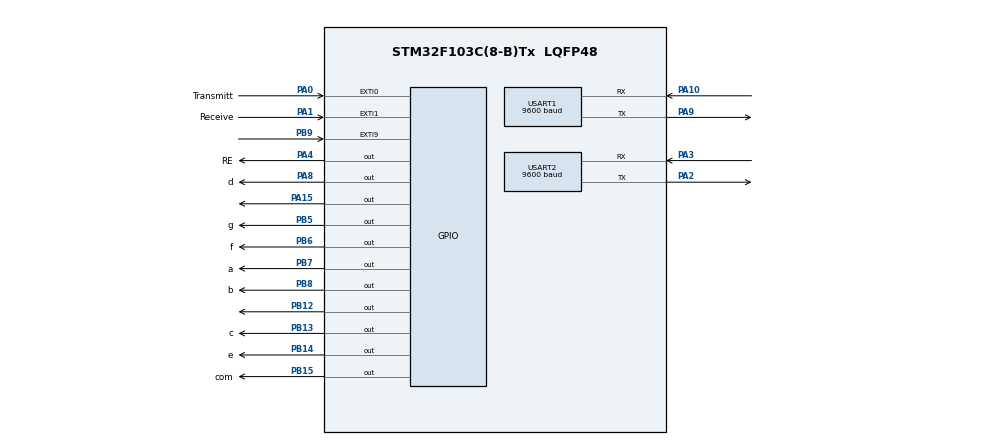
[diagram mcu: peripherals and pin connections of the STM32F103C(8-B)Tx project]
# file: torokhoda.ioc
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Mcu.Family=STM32F1
Mcu.Name=STM32F103C(8-B)Tx
Mcu.Package=LQFP48
NVIC.EXTI0_IRQn=true\:0\:0\:false\:false\:true\:true\:true\:true
NVIC.EXTI1_IRQn=true\:0\:0\:false\:false\:true\:true\:true\:true
NVIC.EXTI9_5_IRQn=true\:0\:0\:false\:false\:true\:true\:true\:true
NVIC.PriorityGroup=NVIC_PRIORITYGROUP_4
NVIC.USART1_IRQn=true\:0\:0\:false\:false\:true\:true\:true\:true
NVIC.USART2_IRQn=true\:0\:0\:false\:false\:true\:true\:true\:true
PA0-WKUP.GPIO_Label=Transmitt
PA0-WKUP.GPIO_ModeDefaultEXTI=GPIO_MODE_IT_FALLING
PA0-WKUP.GPIO_PuPd=GPIO_PULLUP
PA0-WKUP.Signal=GPXTI0
PA1.GPIO_Label=Receive
PA1.GPIO_ModeDefaultEXTI=GPIO_MODE_IT_FALLING
PA1.GPIO_PuPd=GPIO_PULLUP
PA1.Signal=GPXTI1
PA10.Mode=Asynchronous
PA10.Signal=USART1_RX
PA13.Mode=Serial_Wire
PA13.Signal=SYS_JTMS-SWDIO
PA14.Mode=Serial_Wire
PA14.Signal=SYS_JTCK-SWCLK
PA15.GPIO_PuPd=GPIO_NOPULL
PA15.PinState=GPIO_PIN_SET
PA15.Signal=GPIO_Output
PA2.Mode=Asynchronous
PA2.Signal=USART2_TX
PA3.Mode=Asynchronous
PA3.Signal=USART2_RX
PA4.GPIO_Label=RE
PA4.Signal=GPIO_Output
PA8.GPIO_Label=d
PA8.PinState=GPIO_PIN_RESET
PA8.Signal=GPIO_Output
PA9.Mode=Asynchronous
PA9.Signal=USART1_TX
PB12.PinState=GPIO_PIN_RESET
PB12.Signal=GPIO_Output
PB13.GPIO_Label=c
PB13.PinState=GPIO_PIN_RESET
PB13.Signal=GPIO_Output
PB14.GPIO_Label=e
PB14.PinState=GPIO_PIN_RESET
PB14.Signal=GPIO_Output
PB15.GPIO_Label=com
PB15.PinState=GPIO_PIN_SET
PB15.Signal=GPIO_Output
PB5.GPIO_Label=g
PB5.PinState=GPIO_PIN_RESET
PB5.Signal=GPIO_Output
PB6.GPIO_Label=f
PB6.PinState=GPIO_PIN_RESET
PB6.Signal=GPIO_Output
PB7.GPIO_Label=a
PB7.PinState=GPIO_PIN_RESET
PB7.Signal=GPIO_Output
PB8.GPIO_Label=b
PB8.PinState=GPIO_PIN_RESET
PB8.Signal=GPIO_Output
PB9.GPIO_ModeDefaultEXTI=GPIO_MODE_IT_FALLING
PB9.GPIO_PuPd=GPIO_PULLUP
PB9.Signal=GPXTI9
ProjectManager.HeapSize=0x200
ProjectManager.StackSize=0x400
ProjectManager.TargetToolchain=MDK-ARM V5.32
RCC.APB1Freq_Value=8000000
RCC.APB2Freq_Value=8000000
USART1.BaudRate=9600
USART1.VirtualMode=VM_ASYNC
USART2.BaudRate=9600
USART2.VirtualMode=VM_ASYNC
board=custom

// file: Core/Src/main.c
/* USER CODE BEGIN Header */
/**
  ******************************************************************************
  * @file           : main.c
  * @brief          : Main program body
  ******************************************************************************
  * @attention
  *
  * Copyright (c) 2025 STMicroelectronics.
  * All rights reserved.
  *
  * This software is licensed under terms that can be found in the LICENSE file
  * in the root directory of this software component.
  * If no LICENSE file comes with this software, it is provided AS-IS.
  *
  ******************************************************************************
  */
/* USER CODE END Header */
#include "main.h"
#include "usart.h"
#include "gpio.h"

/* USER CODE BEGIN Includes */
#include "M_modbus.h"
//#include "modbus_crc.h"
/* USER CODE END Includes */

/* USER CODE BEGIN PTD */
#define a 0x2000
#define b 0x1000
#define c 0x80
#define d 0x40
#define e 0x20
#define f 0x100
#define g 0x4000
/* USER CODE END PTD */

/* USER CODE BEGIN PV */
uint32_t previousMillis, currentMillis;
int i, sent,received ,input=0,show, other_slave, other_add;
uint8_t RxData[256];
uint8_t TxData[256];

void SevenSegNumber(int num){
	switch (num)
	{
		case 0 :
		GPIOB->ODR = 0xC100;
		GPIOA->ODR &= 0x00;
		break;
		case 1 :
		GPIOB->ODR |= 0x6060;
		GPIOA->ODR |= 0x100;
		break;
		case 2 :
		GPIOB->ODR = ~(a|b|g|e|d);
		GPIOA->ODR |= 0x100;
		break;
		case 3 :
		GPIOB->ODR = ~(a|b|c|d|g);
		GPIOA->ODR |= 0x100;
		break;
		case 4 :
		GPIOB->ODR = ~(b|c|g);
		GPIOA->ODR &= ~0x100;
		break;
		case 5 :
		GPIOB->ODR = ~(a|g|c|d);
		GPIOA->ODR &= ~0x100;
		break;
		case 6 :
		GPIOB->ODR = ~(a|g|c|d|e);
		GPIOA->ODR &= ~0x100;
		break;
		case 7 :
		GPIOB->ODR = ~(a|b|c);
		GPIOA->ODR |= 0x100;
		break;
		case 8 :
		GPIOB->ODR = ~(a|b|c|d|e|f|g);
		GPIOA->ODR &= ~0x100;
		break;
		case 9 :
		GPIOB->ODR = ~(a|b|c|d|f|g);
		GPIOA->ODR &= ~0x100;
		break;
		case 10 :
		GPIOB->ODR = ~(g);
		GPIOA->ODR |= 0x100;
		break;
	}

}

/*
PB7 	C
PB12 	B
PB13 	A
PA8 	F
PB14	G
PB6		D
PB5		E
*/
/* USER CODE END PV */

void SystemClock_Config(void);

/* USER CODE BEGIN 0 */
void HAL_UARTEx_RxEventCallback(UART_HandleTypeDef *huart, uint16_t Size)
{
	HAL_UARTEx_ReceiveToIdle_IT(&huart2, RxData, 256);
}
/* USER CODE END 0 */

int main(void)
{

  /* MCU Configuration--------------------------------------------------------*/

  /* Reset of all peripherals, Initializes the Flash interface and the Systick. */
  HAL_Init();

  /* Configure the system clock */
  SystemClock_Config();

  /* Initialize all configured peripherals */
  MX_GPIO_Init();
  MX_USART1_UART_Init();
  MX_USART2_UART_Init();
  /* USER CODE BEGIN 2 */
	HAL_UARTEx_ReceiveToIdle_IT(&huart2, RxData, 256);
  /* USER CODE END 2 */

  /* Infinite loop */
  while (1)
  {

		if (other_slave)
		{
			while (other_slave) {
				writeSingeCoil(10,0,1);
				SevenSegNumber(10);
			}
		}
		if (input)
		{
			HAL_GPIO_WritePin(GPIOA, GPIO_PIN_15,GPIO_PIN_SET);
			HAL_Delay(300);
			HAL_GPIO_WritePin(GPIOA, GPIO_PIN_15,GPIO_PIN_RESET);
			input=0;
		}
			SevenSegNumber(show);
		if (show != sent  && show != received) HAL_GPIO_WritePin(GPIOA, GPIO_PIN_15,GPIO_PIN_SET);
		else 	HAL_GPIO_WritePin(GPIOA, GPIO_PIN_15,GPIO_PIN_RESET);

  }
}

void SystemClock_Config(void)
{
  RCC_OscInitTypeDef RCC_OscInitStruct = {0};
  RCC_ClkInitTypeDef RCC_ClkInitStruct = {0};

  /** Initializes the RCC Oscillators according to the specified parameters
  * in the RCC_OscInitTypeDef structure.
  */
  RCC_OscInitStruct.OscillatorType = RCC_OSCILLATORTYPE_HSI;
  RCC_OscInitStruct.HSIState = RCC_HSI_ON;
  RCC_OscInitStruct.HSICalibrationValue = RCC_HSICALIBRATION_DEFAULT;
  RCC_OscInitStruct.PLL.PLLState = RCC_PLL_NONE;
  if (HAL_RCC_OscConfig(&RCC_OscInitStruct) != HAL_OK)
  {
    Error_Handler();
  }

  /** Initializes the CPU, AHB and APB buses clocks
  */
  RCC_ClkInitStruct.ClockType = RCC_CLOCKTYPE_HCLK|RCC_CLOCKTYPE_SYSCLK
                              |RCC_CLOCKTYPE_PCLK1|RCC_CLOCKTYPE_PCLK2;
  RCC_ClkInitStruct.SYSCLKSource = RCC_SYSCLKSOURCE_HSI;
  RCC_ClkInitStruct.AHBCLKDivider = RCC_SYSCLK_DIV1;
  RCC_ClkInitStruct.APB1CLKDivider = RCC_HCLK_DIV1;
  RCC_ClkInitStruct.APB2CLKDivider = RCC_HCLK_DIV1;

  if (HAL_RCC_ClockConfig(&RCC_ClkInitStruct, FLASH_LATENCY_0) != HAL_OK)
  {
    Error_Handler();
  }
}

/* USER CODE BEGIN 4 */
void HAL_GPIO_EXTI_Callback(uint16_t GPIO_PIN)
{
	currentMillis = HAL_GetTick();

	if (GPIO_PIN == GPIO_PIN_9 && (currentMillis - previousMillis > 200))
	{
		other_slave=0;
		input=0;
		if ( i < 9)
			i = i+1;
		else
			i = 0;
		show = i;
	}
	else if (GPIO_PIN == GPIO_PIN_0 && (currentMillis - previousMillis > 200))
	{writeSingleHoldingRegister(5, 0, i); show=i; sent = i;	other_slave=0;}
	else if (GPIO_PIN == GPIO_PIN_1 && (currentMillis - previousMillis > 100))
	{readInputRegisters(5,0, 1);
	if (RxData[4] ==10)  		other_slave=1;
	else  {show = RxData[4];	i = show; received= show; input =1;}
	}
	previousMillis = currentMillis;
	}

/* USER CODE END 4 */

void Error_Handler(void)
{
  __disable_irq();
  while (1)
  {
  }
}
